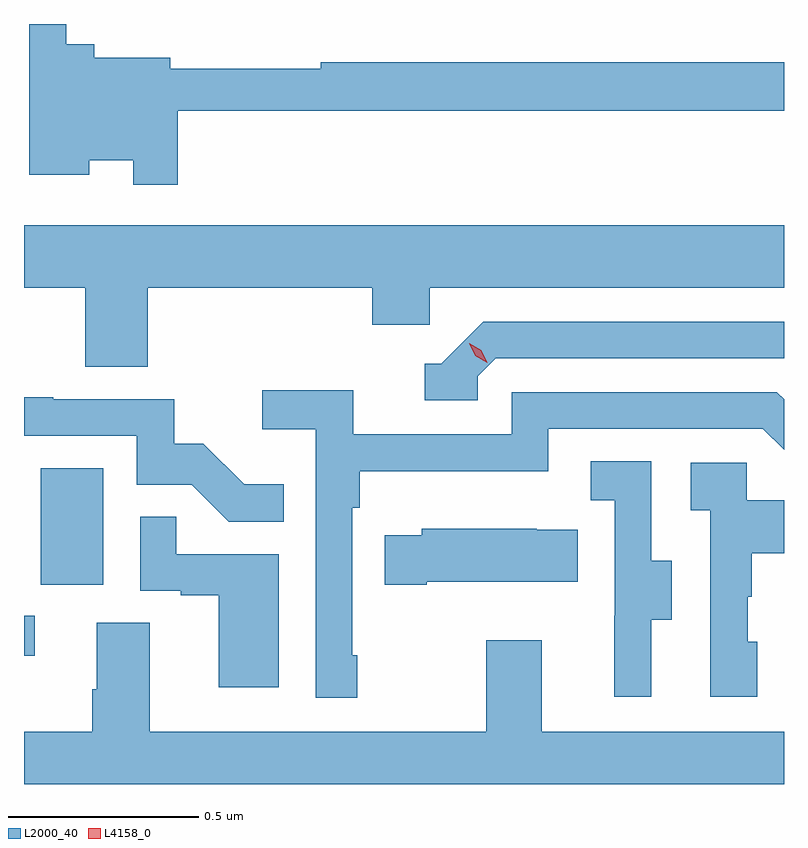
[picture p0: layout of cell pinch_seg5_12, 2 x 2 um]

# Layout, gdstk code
import gdstk
lib = gdstk.Library(unit=1e-6, precision=1e-09)
def R(c, l, rs):  # rectangles x0, y0, x1, y1
    for r in rs: c.add(gdstk.rectangle(r[:2], r[2:], *l))
def P(c, l, *ps):  # polygons
    for p in ps: c.add(gdstk.Polygon(p, *l))
L2000_40 = (2000, 40)
L4158_0 = (4158, 0)

pinch_seg5_12 = lib.new_cell('pinch_seg5_12')
R(pinch_seg5_12, L2000_40, [(1116.546,899.748,1116.574,899.853), (1116.59,899.934,1116.754,900.241)])
P(pinch_seg5_12, L2000_40, [(1116.95,901.182),(1118.546,901.182),(1118.546,901.31),(1117.327,901.31),(1117.327,901.292),(1116.931,901.292),(1116.931,901.321),(1116.731,901.321),(1116.731,901.357),(1116.657,901.357),(1116.657,901.41),(1116.56,901.41),(1116.56,901.013),(1116.718,901.013),(1116.718,901.052),(1116.834,901.052),(1116.834,900.987),(1116.95,900.987)],
  [(1116.872,900.716),(1117.463,900.716),(1117.463,900.618),(1117.614,900.618),(1117.614,900.716),(1118.546,900.716),(1118.546,900.88),(1116.546,900.88),(1116.546,900.716),(1116.707,900.716),(1116.707,900.508),(1116.872,900.508)],
  [(1117.74,900.483),(1117.788,900.531),(1118.546,900.531),(1118.546,900.627),(1117.755,900.627),(1117.644,900.516),(1117.601,900.516),(1117.601,900.42),(1117.74,900.42)],
  [(1117.423,899.749),(1117.41,899.749),(1117.41,900.137),(1117.43,900.137),(1117.43,900.233),(1117.926,900.233),(1117.926,900.345),(1118.49,900.345),(1118.546,900.289),(1118.546,900.422),(1118.527,900.441),(1117.83,900.441),(1117.83,900.33),(1117.412,900.33),(1117.412,900.446),(1117.173,900.446),(1117.173,900.344),(1117.314,900.344),(1117.314,899.637),(1117.423,899.637)],
  [(1117.229,900.199),(1117.125,900.199),(1117.018,900.306),(1116.942,900.306),(1116.942,900.423),(1116.623,900.423),(1116.623,900.428),(1116.546,900.428),(1116.546,900.327),(1116.843,900.327),(1116.843,900.198),(1116.987,900.198),(1117.085,900.1),(1117.229,900.1)],
  [(1118.197,899.842),(1118.251,899.842),(1118.251,899.997),(1118.196,899.997),(1118.196,900.26),(1118.037,900.26),(1118.037,900.157),(1118.1,900.157),(1118.1,899.853),(1118.099,899.853),(1118.099,899.64),(1118.197,899.64)],
  [(1118.476,899.784),(1118.451,899.784),(1118.451,899.903),(1118.461,899.903),(1118.461,900.017),(1118.546,900.017),(1118.546,900.157),(1118.448,900.157),(1118.448,900.255),(1118.301,900.255),(1118.301,900.131),(1118.352,900.131),(1118.352,899.64),(1118.476,899.64)],
  [(1117.216,900.015),(1116.947,900.015),(1116.947,900.113),(1116.852,900.113),(1116.852,899.919),(1116.959,899.919),(1116.959,899.907),(1117.058,899.907),(1117.058,899.664),(1117.216,899.664)],
  [(1117.606,899.942),(1118.003,899.942),(1118.003,900.079),(1117.895,900.079),(1117.895,900.082),(1117.593,900.082),(1117.593,900.064),(1117.495,900.064),(1117.495,899.935),(1117.606,899.935)],
  [(1118.546,899.548),(1117.909,899.548),(1117.909,899.788),(1117.762,899.788),(1117.762,899.548),(1116.877,899.548),(1116.877,899.834),(1116.737,899.834),(1116.737,899.66),(1116.725,899.66),(1116.725,899.548),(1116.546,899.548),(1116.546,899.41),(1118.546,899.41)])
P(pinch_seg5_12, L4158_0, [(1117.765,900.518),(1117.734,900.537),(1117.718,900.57),(1117.718,900.57),(1117.718,900.57),(1117.749,900.551),(1117.765,900.518),(1117.765,900.518)])

lib.write_gds('pinch_seg5_12.gds')
